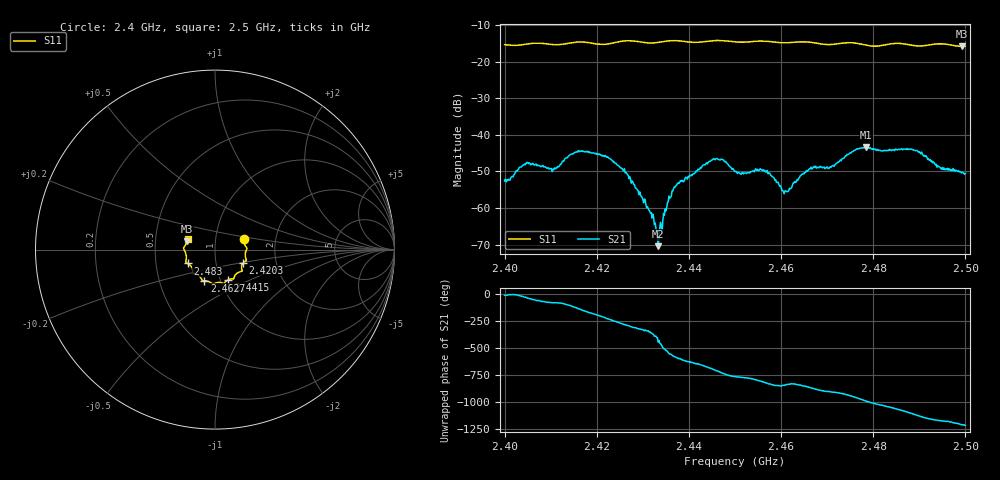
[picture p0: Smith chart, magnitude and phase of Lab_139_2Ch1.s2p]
# Hz S RI R 50
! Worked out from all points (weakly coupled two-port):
!   601 points, 2.4 GHz to 2.5 GHz, reference 50 ohm
!   highest |S21| = -43.41 dB at 2.4785 GHz (marker M1); lowest = -70.4 dB at 2.4333 GHz (marker M2)
!   lowest |S11| = -15.8 dB at 2.4993 GHz (marker M3), VSWR 1.38, Z = 36.5 + j3.54 ohm
!   |S11| at or under -10 dB: start of sweep to end of sweep
!   S12 and S22 are empty: the file has one direction only
!   S11 on the Smith chart (normalised r, x): 2.4 GHz: 1.37, +0.17; 2.4203 GHz: 1.35, -0.20; 2.4415 GHz: 1.09, -0.38; 2.4627 GHz: 0.84, -0.30; 2.483 GHz: 0.73, -0.12; 2.5 GHz: 0.73, +0.08
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2.4e9  0.1604 0.0586  0.0023 -0.000496  0 0  0 0
2.4045e9  0.1718 0.0161  0.00343 -0.00188  0 0  0 0
2.410833e9  0.1698 -0.0166  0.000608 -0.00349  0 0  0 0
2.416667e9  0.1752 -0.061  -0.00494 -0.0033  0 0  0 0
2.420333e9  0.157 -0.073  -0.00512 0.0016  0 0  0 0
2.426333e9  0.1517 -0.1185  0.00092 0.00294  0 0  0 0
2.433333e9  0.1092 -0.1471  2.53e-05 -0.000301  0 0  0 0
2.436833e9  0.1042 -0.1632  -0.00147 0.00127  0 0  0 0
2.4415e9  0.0745 -0.1675  0.000834 0.00309  0 0  0 0
2.445667e9  0.0515 -0.1871  0.00443 0.0011  0 0  0 0
2.45e9  0.0311 -0.1836  0.00222 -0.00222  0 0  0 0
2.4565e9  -0.0132 -0.1899  -0.000631 -0.0032  0 0  0 0
2.460667e9  -0.0426 -0.1757  -0.000929 -0.00127  0 0  0 0
2.462667e9  -0.0596 -0.1737  -0.00089 -0.00204  0 0  0 0
2.466667e9  -0.0738 -0.1675  -0.00303 -0.00159  0 0  0 0
2.470667e9  -0.0964 -0.1416  -0.00363 0.000471  0 0  0 0
2.4785e9  -0.1246 -0.1119  0.000557 0.00673  0 0  0 0
2.483e9  -0.153 -0.0774  0.00498 0.00361  0 0  0 0
2.483333e9  -0.1552 -0.0764  0.00513 0.00337  0 0  0 0
2.489167e9  -0.1597 -0.0409  0.00456 -0.004  0 0  0 0
2.499333e9  -0.1542 0.0472  -0.00207 -0.00229  0 0  0 0
2.5e9  -0.1524 0.0563  -0.00225 -0.00193  0 0  0 0
